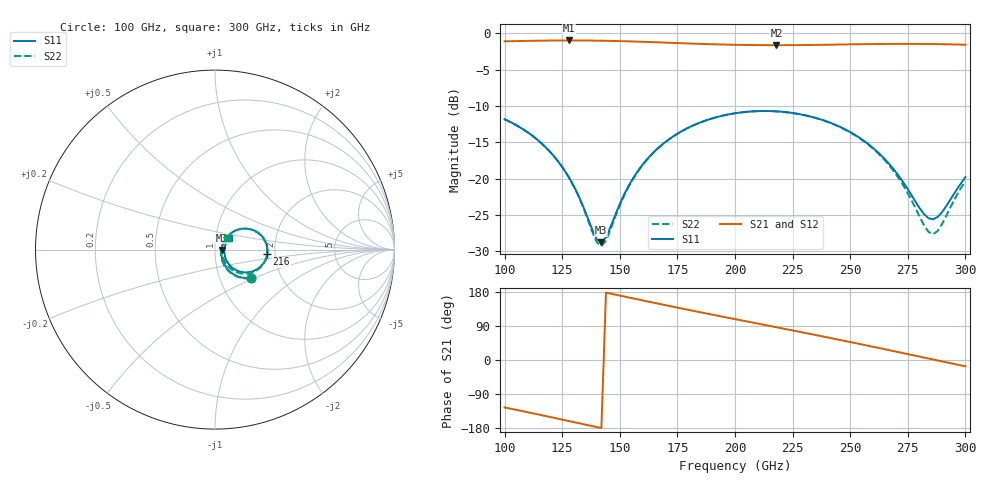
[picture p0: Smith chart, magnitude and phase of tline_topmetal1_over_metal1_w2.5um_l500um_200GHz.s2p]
#  GHZ S DB R 50
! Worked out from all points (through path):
!   101 points, 100 GHz to 300 GHz, reference 50 ohm
!   highest |S21| = -0.99 dB at 128 GHz (marker M1); lowest = -1.6 dB at 218 GHz (marker M2)
!   group delay of S21, straight-line fit = 3.46 ps
!   lowest |S11| = -28.8 dB at 142 GHz (marker M3), VSWR 1.08, Z = 53.8 - j0.225 ohm
!   |S11| at or under -10 dB: start of sweep to end of sweep
!   |S22| runs from -29.3 to -10.7 dB; largest |S21 - S12| = 9.7e-14
!   S11 on the Smith chart (normalised r, x): 100 GHz: 1.41, -0.47; 216 GHz: 1.81, -0.10; 300 GHz: 1.16, +0.15
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100  -11.83 -37.8  -1.10 -125.2  -1.10 -125.2  -11.83 -38.5
116  -15.13 -52.6  -1.01 -145.6  -1.01 -145.6  -15.13 -53.7
128  -19.86 -57.9  -0.99 -161.2  -0.99 -161.2  -19.89 -59.6
134  -23.73 -52.1  -0.99 -169.1  -0.99 -169.1  -23.84 -54.4
140  -28.30 -22.0  -1.01 -176.9  -1.01 -176.9  -28.74 -24.2
142  -28.76 -3.3  -1.02 -179.6  -1.02 -179.6  -29.28 -4.3
144  -28.05 14.7  -1.03 177.8  -1.03 177.8  -28.51 14.9
150  -23.48 41.6  -1.08 170.0  -1.08 170.0  -23.65 42.3
156  -19.82 46.5  -1.13 162.3  -1.13 162.3  -19.90 46.8
168  -15.40 41.0  -1.26 147.0  -1.26 147.0  -15.43 40.8
184  -12.38 26.8  -1.44 127.2  -1.44 127.2  -12.39 26.2
200  -11.00 11.0  -1.58 107.9  -1.58 107.9  -11.01 10.0
216  -10.71 -5.1  -1.63 88.8  -1.63 88.8  -10.71 -6.4
218  -10.74 -7.1  -1.64 86.4  -1.64 86.4  -10.74 -8.4
234  -11.55 -22.8  -1.60 67.1  -1.60 67.1  -11.56 -24.7
254  -14.36 -40.4  -1.51 42.4  -1.51 42.4  -14.42 -43.6
268  -18.37 -46.7  -1.46 24.6  -1.46 24.6  -18.59 -51.9
274  -20.96 -43.6  -1.46 16.8  -1.46 16.8  -21.43 -50.3
282  -24.86 -22.1  -1.47 6.5  -1.47 6.5  -26.39 -29.1
286  -25.59 -0.7  -1.48 1.3  -1.48 1.3  -27.63 -2.0
290  -24.54 19.6  -1.50 -3.8  -1.50 -3.8  -26.16 23.9
300  -19.79 39.5  -1.57 -16.7  -1.57 -16.7  -20.32 44.2
